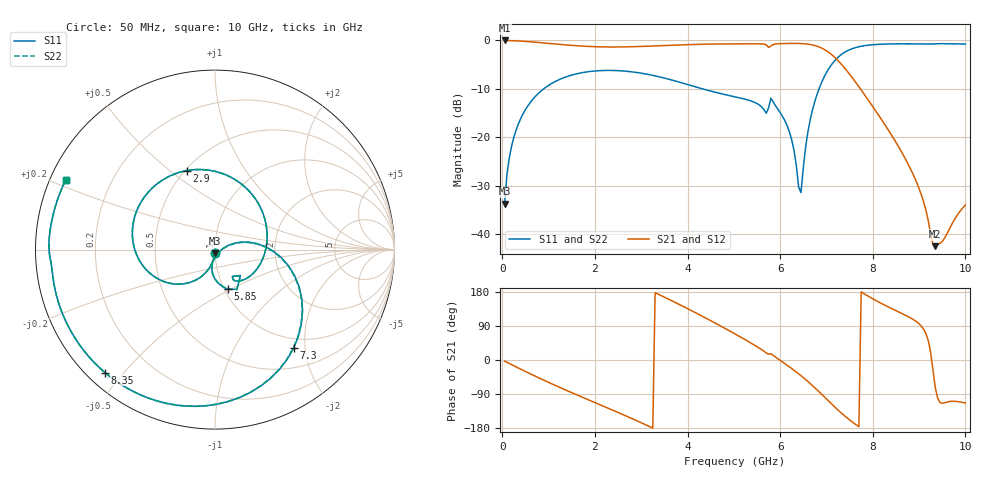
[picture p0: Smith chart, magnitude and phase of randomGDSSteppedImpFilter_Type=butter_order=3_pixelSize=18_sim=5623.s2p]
! freq	dB(S11)	phase(S11)	dB(S12)	phase(S12)
!  dB(S21)	phase(S21)	dB(S22)	phase(S22)
!S-par simulation data
#  GHz  S  DB  R 50
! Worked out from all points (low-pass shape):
!   200 points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, 50 MHz to 10 GHz, reference 50 ohm
!   highest |S21| = -0.01 dB at 50 MHz (marker M1); lowest = -42.4 dB at 9.35 GHz (marker M2)
!   |S21| within 3 dB of the highest: start of sweep to 7.121 GHz
!   lowest |S11| = -33.7 dB at 50 MHz (marker M3), VSWR 1.04, Z = 49.8 - j2.06 ohm
!   |S11| at or under -10 dB: start of sweep to 891.8 MHz; 4.327 GHz to 6.839 GHz (2.513 GHz wide, 45 % of centre)
!   |S22| runs from -33.7 to -0.7 dB; largest |S21 - S12| = 0
!   S11 on the Smith chart (normalised r, x): 50 MHz: 1.00, -0.04; 2.9 GHz: 0.51, +0.57; 5.85 GHz: 1.04, -0.48; 7.3 GHz: 0.82, -1.78; 8.35 GHz: 0.05, -0.45; 10 GHz: 0.04, +0.22
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0.05  -33.68 -93.6  -0.01 -3.1  -0.01 -3.1  -33.68 -93.6
0.2  -21.84 -103.0  -0.04 -12.3  -0.04 -12.3  -21.84 -103.0
0.5  -14.27 -121.0  -0.20 -30.3  -0.20 -30.3  -14.27 -121.0
1.1  -8.69 -155.4  -0.70 -64.6  -0.70 -64.6  -8.69 -155.4
1.75  -6.61 170.0  -1.18 -99.3  -1.18 -99.3  -6.61 170.0
2.9  -6.61 109.6  -1.27 -160.0  -1.27 -160.0  -6.61 109.6
3.4  -7.53 81.6  -1.09 171.7  -1.09 171.7  -7.53 81.7
4.35  -10.06 24.3  -0.78 113.5  -0.78 113.5  -10.06 24.3
5.05  -11.67 -21.2  -0.71 67.2  -0.71 67.2  -11.67 -21.1
5.7  -15.01 -57.0  -0.91 18.6  -0.91 18.6  -14.98 -56.7
5.85  -12.71 -72.2  -0.83 12.1  -0.83 12.1  -12.70 -72.2
6.2  -18.86 -98.9  -0.62 -18.1  -0.62 -18.1  -18.85 -98.4
6.45  -31.37 -21.5  -0.64 -41.4  -0.64 -41.4  -30.97 -22.6
6.55  -21.99 17.8  -0.71 -51.5  -0.71 -51.5  -21.94 16.6
6.7  -14.28 12.5  -0.93 -67.6  -0.93 -67.6  -14.27 11.8
6.95  -7.53 -12.5  -1.84 -96.8  -1.84 -96.8  -7.53 -12.9
7.3  -3.06 -51.5  -4.68 -137.7  -4.68 -137.7  -3.06 -51.8
7.75  -1.20 -92.9  -10.21 179.9  -10.21 179.9  -1.20 -93.1
8.35  -0.73 -131.8  -18.69 139.2  -18.69 139.2  -0.73 -132.0
8.95  -0.72 -161.4  -29.35 100.4  -29.35 100.4  -0.72 -161.6
9.35  -0.71 -178.0  -42.43 -72.9  -42.43 -72.9  -0.71 -178.1
10  -0.74 155.0  -33.96 -113.4  -33.96 -113.4  -0.74 154.9
